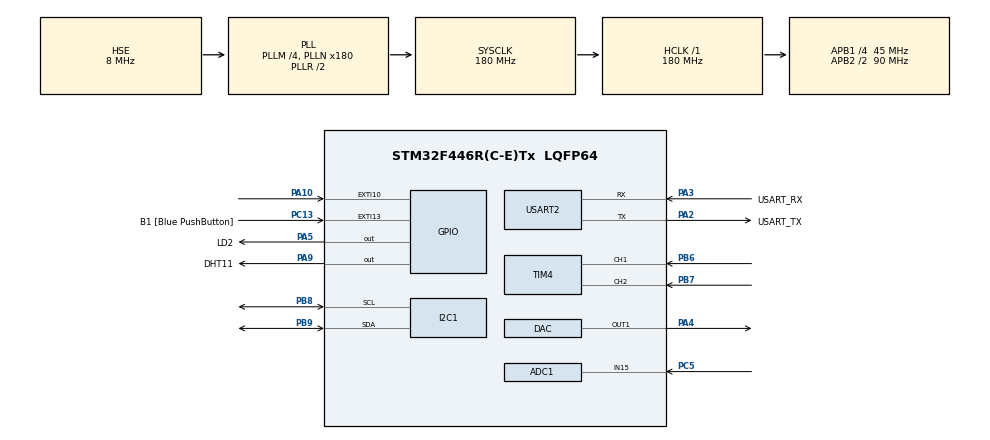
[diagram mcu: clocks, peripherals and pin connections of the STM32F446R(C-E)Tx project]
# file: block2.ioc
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ADC1.Channel-0\#ChannelRegularConversion=ADC_CHANNEL_15
ADC1.NbrOfConversionFlag=1
ADC1.Rank-0\#ChannelRegularConversion=1
ADC1.SamplingTime-0\#ChannelRegularConversion=ADC_SAMPLETIME_3CYCLES
ADC1.master=1
Dma.DAC1.0.Direction=DMA_MEMORY_TO_PERIPH
Dma.DAC1.0.FIFOMode=DMA_FIFOMODE_DISABLE
Dma.DAC1.0.Instance=DMA1_Stream5
Dma.DAC1.0.MemDataAlignment=DMA_MDATAALIGN_HALFWORD
Dma.DAC1.0.MemInc=DMA_MINC_ENABLE
Dma.DAC1.0.Mode=DMA_NORMAL
Dma.DAC1.0.PeriphDataAlignment=DMA_PDATAALIGN_HALFWORD
Dma.DAC1.0.PeriphInc=DMA_PINC_DISABLE
Dma.DAC1.0.Priority=DMA_PRIORITY_LOW
Dma.Request0=DAC1
Mcu.Family=STM32F4
Mcu.Name=STM32F446R(C-E)Tx
Mcu.Package=LQFP64
NVIC.DMA1_Stream5_IRQn=true\:0\:0\:false\:false\:true\:false\:true\:true
NVIC.EXTI15_10_IRQn=true\:0\:0\:false\:false\:true\:true\:true\:true
NVIC.PriorityGroup=NVIC_PRIORITYGROUP_0
NVIC.TIM2_IRQn=true\:0\:0\:false\:false\:true\:true\:true\:true
NVIC.TIM8_BRK_TIM12_IRQn=true\:0\:0\:false\:false\:true\:true\:true\:true
NVIC.USART2_IRQn=true\:0\:0\:false\:false\:true\:true\:true\:true
PA10.GPIO_ModeDefaultEXTI=GPIO_MODE_IT_FALLING
PA10.GPIO_PuPd=GPIO_PULLUP
PA10.Signal=GPXTI10
PA13.GPIO_Label=TMS
PA13.Mode=Serial_Wire
PA13.Signal=SYS_JTMS-SWDIO
PA14.GPIO_Label=TCK
PA14.Mode=Serial_Wire
PA14.Signal=SYS_JTCK-SWCLK
PA2.GPIO_Label=USART_TX
PA2.Mode=Asynchronous
PA2.Signal=USART2_TX
PA3.GPIO_Label=USART_RX
PA3.Mode=Asynchronous
PA3.Signal=USART2_RX
PA4.Signal=COMP_DAC1_group
PA5.GPIO_Label=LD2
PA5.Signal=GPIO_Output
PA9.GPIO_Label=DHT11
PA9.Signal=GPIO_Output
PB3.GPIO_Label=SWO
PB3.Signal=SYS_JTDO-SWO
PB6.Signal=S_TIM4_CH1
PB7.Signal=S_TIM4_CH2
PB8.Mode=I2C
PB8.Signal=I2C1_SCL
PB9.Mode=I2C
PB9.Signal=I2C1_SDA
PC13.GPIO_Label=B1 [Blue PushButton]
PC13.GPIO_ModeDefaultEXTI=GPIO_MODE_IT_FALLING
PC13.Signal=GPXTI13
PC14-OSC32_IN.Mode=LSE-External-Oscillator
PC14-OSC32_IN.Signal=RCC_OSC32_IN
PC15-OSC32_OUT.Mode=LSE-External-Oscillator
PC15-OSC32_OUT.Signal=RCC_OSC32_OUT
PC5.Signal=ADCx_IN15
PH0-OSC_IN.Mode=HSE-External-Oscillator
PH0-OSC_IN.Signal=RCC_OSC_IN
PH1-OSC_OUT.Mode=HSE-External-Oscillator
PH1-OSC_OUT.Signal=RCC_OSC_OUT
ProjectManager.HeapSize=0x200
ProjectManager.StackSize=0x400
ProjectManager.TargetToolchain=STM32CubeIDE
RCC.48MHZClocksFreq_Value=84000000
RCC.AHBFreq_Value=180000000
RCC.APB1CLKDivider=RCC_HCLK_DIV4
RCC.APB1Freq_Value=45000000
RCC.APB1TimFreq_Value=90000000
RCC.APB2CLKDivider=RCC_HCLK_DIV2
RCC.APB2Freq_Value=90000000
RCC.APB2TimFreq_Value=180000000
RCC.CortexFreq_Value=180000000
RCC.FLatency-AdvancedSettings=FLASH_LATENCY_5
RCC.HCLKFreq_Value=180000000
RCC.HSE_VALUE=8000000
RCC.HSI_VALUE=16000000
RCC.PLLM=4
RCC.PLLN=180
RCC.PLLP=RCC_PLLP_DIV4
RCC.PLLSourceVirtual=RCC_PLLSOURCE_HSE
RCC.SYSCLKFreq_VALUE=180000000
RCC.SYSCLKSource=RCC_SYSCLKSOURCE_PLLRCLK
RCC.USBFreq_Value=180000000
RCC.VCOOutputFreq_Value=360000000
SH.ADCx_IN15.0=ADC1_IN15,IN15
SH.COMP_DAC1_group.0=DAC_OUT1,DAC_OUT1
SH.S_TIM4_CH1.0=TIM4_CH1,Encoder_Interface
SH.S_TIM4_CH2.0=TIM4_CH2,Encoder_Interface
TIM12.Period=100
TIM12.Prescaler=65535
TIM2.Period=10000
TIM2.Prescaler=8999
TIM3.Prescaler=89
USART2.VirtualMode=VM_ASYNC
VP_TIM12_VS_ClockSourceINT.Mode=Internal
VP_TIM2_VS_ClockSourceINT.Mode=Internal
VP_TIM3_VS_ClockSourceINT.Mode=Internal
board=NUCLEO-F446RE

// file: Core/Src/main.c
/* USER CODE BEGIN Header */
/**
  ******************************************************************************
  * @file           : main.c
  * @brief          : Main program body
  ******************************************************************************
  * @attention
  *
  * Copyright (c) 2022 STMicroelectronics.
  * All rights reserved.
  *
  * This software is licensed under terms that can be found in the LICENSE file
  * in the root directory of this software component.
  * If no LICENSE file comes with this software, it is provided AS-IS.
  *
  ******************************************************************************
  */
/* USER CODE END Header */
#include "main.h"
#include "adc.h"
#include "dac.h"
#include "dma.h"
#include "i2c.h"
#include "tim.h"
#include "usart.h"
#include "gpio.h"

/* USER CODE BEGIN Includes */
#include "dht11.h"
#include "ssd1306.h"
#include "fonts.h"
/* USER CODE END Includes */

/* USER CODE BEGIN PV */
int timercounter4;
char integer_buffer_hum[4];
char decimal_buffer_hum[3];
char integer_buffer_tem[4];
char decimal_buffer_tem[3];
char checksum_buffer[2];
float voltage;
int BUFFER_SIZE=10;
/* USER CODE END PV */

void SystemClock_Config(void);

int main(void)
{

  /* MCU Configuration--------------------------------------------------------*/

  /* Reset of all peripherals, Initializes the Flash interface and the Systick. */
  HAL_Init();

  /* Configure the system clock */
  SystemClock_Config();

  /* Initialize all configured peripherals */
  MX_GPIO_Init();
  MX_USART2_UART_Init();
  MX_TIM3_Init();
  MX_I2C1_Init();
  MX_TIM2_Init();
  MX_TIM4_Init();
  MX_TIM12_Init();
  MX_DMA_Init();
  MX_DAC_Init();
  MX_ADC1_Init();
  /* USER CODE BEGIN 2 */
  HAL_TIM_Base_Start_IT(&htim4);
  HAL_TIM_Base_Start_IT(&htim12);
  //display init
  HAL_TIM_Base_Start_IT(&htim2);
  ssd1306_Init(&hi2c1);
  HAL_ADC_Start_IT(&hadc1);

  ssd1306_Fill(DISPLAY_COLOR_DARK);
  HAL_GPIO_TogglePin(LD2_GPIO_Port , LD2_Pin);
  ssd1306_SetCursor(0,30);
  ssd1306_WriteString("Herz: 10", Font_7x10, DISPLAY_COLOR_LIGHT);

  //DAC init
  const uint16_t aSine12bit_Buffer[2] = {
                        2047, 2447};

  HAL_DAC_Start_DMA( &hdac, DAC_CHANNEL_1,(uint32_t*)aSine12bit_Buffer, 2, DAC_ALIGN_12B_R);

  /* USER CODE END 2 */

  /* Infinite loop */
  while (1)
  {
	  test();
  }
}

void SystemClock_Config(void)
{
  RCC_OscInitTypeDef RCC_OscInitStruct = {0};
  RCC_ClkInitTypeDef RCC_ClkInitStruct = {0};

  /** Configure the main internal regulator output voltage
  */
  __HAL_RCC_PWR_CLK_ENABLE();
  __HAL_PWR_VOLTAGESCALING_CONFIG(PWR_REGULATOR_VOLTAGE_SCALE1);

  /** Initializes the RCC Oscillators according to the specified parameters
  * in the RCC_OscInitTypeDef structure.
  */
  RCC_OscInitStruct.OscillatorType = RCC_OSCILLATORTYPE_HSE;
  RCC_OscInitStruct.HSEState = RCC_HSE_ON;
  RCC_OscInitStruct.PLL.PLLState = RCC_PLL_ON;
  RCC_OscInitStruct.PLL.PLLSource = RCC_PLLSOURCE_HSE;
  RCC_OscInitStruct.PLL.PLLM = 4;
  RCC_OscInitStruct.PLL.PLLN = 180;
  RCC_OscInitStruct.PLL.PLLP = RCC_PLLP_DIV4;
  RCC_OscInitStruct.PLL.PLLQ = 2;
  RCC_OscInitStruct.PLL.PLLR = 2;
  if (HAL_RCC_OscConfig(&RCC_OscInitStruct) != HAL_OK)
  {
    Error_Handler();
  }

  /** Activate the Over-Drive mode
  */
  if (HAL_PWREx_EnableOverDrive() != HAL_OK)
  {
    Error_Handler();
  }

  /** Initializes the CPU, AHB and APB buses clocks
  */
  RCC_ClkInitStruct.ClockType = RCC_CLOCKTYPE_HCLK|RCC_CLOCKTYPE_SYSCLK
                              |RCC_CLOCKTYPE_PCLK1|RCC_CLOCKTYPE_PCLK2;
  RCC_ClkInitStruct.SYSCLKSource = RCC_SYSCLKSOURCE_PLLRCLK;
  RCC_ClkInitStruct.AHBCLKDivider = RCC_SYSCLK_DIV1;
  RCC_ClkInitStruct.APB1CLKDivider = RCC_HCLK_DIV4;
  RCC_ClkInitStruct.APB2CLKDivider = RCC_HCLK_DIV2;

  if (HAL_RCC_ClockConfig(&RCC_ClkInitStruct, FLASH_LATENCY_5) != HAL_OK)
  {
    Error_Handler();
  }
}

/* USER CODE BEGIN 4 */
void UART_Output(void){
	     //Output per UART
	  	 // Termparatur UART
		 HAL_UART_Transmit(&huart2,"Temperatur: ",13,HAL_MAX_DELAY);
		 HAL_UART_Transmit(&huart2,&integer_buffer_tem,2,HAL_MAX_DELAY);
		 HAL_UART_Transmit(&huart2,".",1,HAL_MAX_DELAY);
		 HAL_UART_Transmit(&huart2,&decimal_buffer_tem,2,HAL_MAX_DELAY);
		 HAL_UART_Transmit(&huart2,"'C \n",4,HAL_MAX_DELAY);

		 // Humidity UART
		 HAL_UART_Transmit(&huart2,"Humidity: ",13,HAL_MAX_DELAY);
		 HAL_UART_Transmit(&huart2,&integer_buffer_hum,2,HAL_MAX_DELAY);
		 HAL_UART_Transmit(&huart2,".",1,HAL_MAX_DELAY);
		 HAL_UART_Transmit(&huart2,&decimal_buffer_hum,2,HAL_MAX_DELAY);
		 HAL_UART_Transmit(&huart2,"% \n",3,HAL_MAX_DELAY);

		 // Checksum UART

		 HAL_UART_Transmit(&huart2,"Checksum: ",10,HAL_MAX_DELAY);
		 HAL_UART_Transmit(&huart2,&checksum_buffer,2,HAL_MAX_DELAY);
}

void Display_Output(void){

    //Temperatur Display
	  ssd1306_SetCursor(0,0);
	  ssd1306_WriteString("Temparatur: ", Font_7x10, DISPLAY_COLOR_LIGHT);
	  ssd1306_WriteString(&integer_buffer_tem, Font_7x10, DISPLAY_COLOR_LIGHT);
	  ssd1306_WriteString(".", Font_7x10, DISPLAY_COLOR_LIGHT);
	  ssd1306_WriteString(&decimal_buffer_tem, Font_7x10, DISPLAY_COLOR_LIGHT);
	  ssd1306_WriteString("'C", Font_7x10, DISPLAY_COLOR_LIGHT);

	  //Humudity Display
	  ssd1306_SetCursor(0,15);
	  ssd1306_WriteString("Humidity: ", Font_7x10, DISPLAY_COLOR_LIGHT);
	  ssd1306_WriteString(&integer_buffer_hum, Font_7x10, DISPLAY_COLOR_LIGHT);
	  ssd1306_WriteString(".", Font_7x10, DISPLAY_COLOR_LIGHT);
	  ssd1306_WriteString(&decimal_buffer_hum, Font_7x10, DISPLAY_COLOR_LIGHT);
	  ssd1306_WriteString("%", Font_7x10, DISPLAY_COLOR_LIGHT);

	  ssd1306_UpdateScreen();
}

void Read_Data(void) {
	 dht11_StartSignal(DHT11_GPIO_Port, DHT11_Pin, &htim3);
		 /** start timer*/
		 if (dht11_Reply(DHT11_GPIO_Port, DHT11_Pin, &htim3) == 1) {
			 uint8_t RH_Int_Byte = dht11_ReadData(DHT11_GPIO_Port, DHT11_Pin, &htim3);   // Saves first byte
			 uint8_t RH_Dec_Byte = dht11_ReadData(DHT11_GPIO_Port, DHT11_Pin, &htim3);   // Saves second byte
			 uint8_t Temp_Int_Byte = dht11_ReadData(DHT11_GPIO_Port, DHT11_Pin, &htim3);   // Saves third byte
			 uint8_t Temp_Dec_Byte = dht11_ReadData(DHT11_GPIO_Port, DHT11_Pin, &htim3);   // Saves fourth byte
			 uint8_t Check_Byte = dht11_ReadData(DHT11_GPIO_Port, DHT11_Pin, &htim3);  // Saves fifth byte

			 itoa(RH_Int_Byte,&integer_buffer_hum,10);
			 itoa(RH_Dec_Byte,&decimal_buffer_hum,10);
			 // Temparatur buffer
			 itoa(Temp_Dec_Byte,&decimal_buffer_tem,10);
			 itoa(Temp_Int_Byte,&integer_buffer_tem,10);
			 // Checksum buffer
			 itoa(Check_Byte,&checksum_buffer,10);
		 }
}

void HAL_GPIO_EXTI_Callback(uint16_t GPIO_Pin){

	//Beim drücken Wert des Timers auslesen

	timercounter4 = __HAL_TIM_GET_COUNTER(&htim4);

	//Wenn Timer zu groß wieder runtersetzen
	if (timercounter4 > 30) {
		__HAL_TIM_SET_COUNTER(&htim4, 30);
		timercounter4 = 30;
	}

	//HAL_UART_Transmit(&huart2, &timercounter4, 1, HAL_MAX_DELAY);

	//HERZFREQUENZ SETZEN
	int hz = (int)1000/timercounter4;
	HAL_TIM_Base_Stop_IT(&htim12);
	__HAL_TIM_SET_AUTORELOAD(&htim12, hz/2);
	__HAL_TIM_SET_COUNTER(&htim12, 0);
	HAL_TIM_Base_Start_IT(&htim12);

	//Danach Screen updaten
	ssd1306_SetCursor(0,30);
	char hertz_buffer[20];
	int n = sprintf(hertz_buffer, "Hertz: %d " , timercounter4);
	ssd1306_WriteString(&hertz_buffer, Font_7x10, DISPLAY_COLOR_LIGHT);
	ssd1306_UpdateScreen;
}
void HAL_DAC_ConvCpltCallbackCh1(DAC_HandleTypeDef *hdac){
	HAL_DAC_SetValue(hdac, DAC_CHANNEL_1, DAC_ALIGN_12B_R,(int)voltage);
}

void ADC_DAC_Output(void){
	//ADC

	uint32_t adc = HAL_ADC_GetValue(&hadc1);
	if (adc > 4095) {
			adc = 4095;
		}
	voltage = ((3.3)/(4095)) * (int) adc;
	uint32_t  voltageArray[1];
	voltageArray[0] = 1000;

	int integer_wert = (int) voltage;
	int deci_wert = (voltage - integer_wert)*100;
	char ausgabe[20];
	itoa(deci_wert, &ausgabe,10);
	int z = sprintf(ausgabe, "%d,%d", integer_wert, deci_wert);
	ssd1306_SetCursor(0,45);
	ssd1306_WriteString("Voltage: ", Font_7x10, DISPLAY_COLOR_LIGHT);
	ssd1306_WriteString(&ausgabe, Font_7x10, DISPLAY_COLOR_LIGHT);
	ssd1306_UpdateScreen();

	//DAC

}
void test() {
	uint32_t adc = HAL_ADC_GetValue(&hadc1);
	HAL_DAC_SetValue(&hdac, DAC_CHANNEL_1, DAC_ALIGN_12B_R,adc);
	HAL_DAC_Start_DMA( &hdac, DAC_CHANNEL_1, 1, DAC_ALIGN_12B_R);

}

/* USER CODE END 4 */

void Error_Handler(void)
{
  __disable_irq();
  while (1)
  {
  }
}
